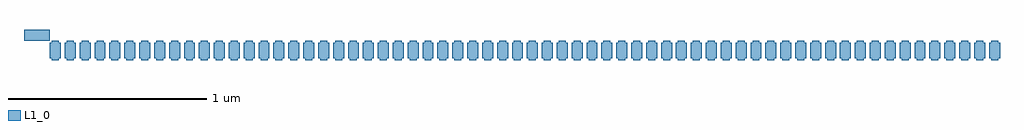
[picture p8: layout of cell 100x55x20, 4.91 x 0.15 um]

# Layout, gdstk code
import gdstk
lib = gdstk.Library(unit=1e-6, precision=1e-09)
def R(c, l, rs):  # rectangles x0, y0, x1, y1
    for r in rs: c.add(gdstk.rectangle(r[:2], r[2:], *l))
def P(c, l, *ps):  # polygons
    for p in ps: c.add(gdstk.Polygon(p, *l))
L1_0 = (1, 0)

c_100x55single = lib.new_cell('100x55single')
P(c_100x55single, L1_0, [(0,0),(0.01,0),(0.01,-0.01),(0.045,-0.01),(0.045,0),(0.055,0),(0.055,0.08),(0.045,0.08),(0.045,0.09),(0.01,0.09),(0.01,0.08),(0,0.08)])

c_100x55x20 = lib.new_cell('100x55x20')
R(c_100x55x20, L1_0, [(-0.13,0.1,0,0.155)])
r = gdstk.Reference(c_100x55single, (0,0.01)); r.repetition = gdstk.Repetition(64, 1, v1=(0.075,0), v2=(0,0)); c_100x55x20.add(r)

lib.write_gds('100x55x20.gds')
